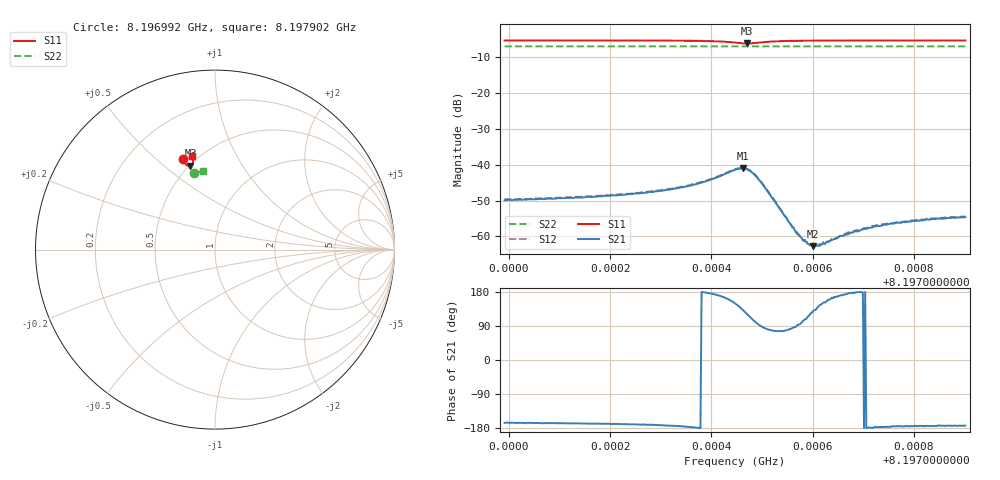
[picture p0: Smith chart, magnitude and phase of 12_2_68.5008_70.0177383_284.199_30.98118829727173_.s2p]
#  HZ  S  RI  R  50.00
! Rohde & Schwarz Vector Network Analyzer
! Rohde-Schwarz,ZNB20-2Port,1311601062101988,3.16
! Created: UTC 3/20/2024, 4:49:04 PM
! freq[Hz]  re:S11  im:S11  re:S21  im:S21  re:S12  im:S12  re:S22  im:S22
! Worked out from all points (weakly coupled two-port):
!   401 points, 8.196992 GHz to 8.197902 GHz, reference 50 ohm
!   highest |S21| = -41.06 dB at 8.197463 GHz (marker M1); lowest = -62.7 dB at 8.197601 GHz (marker M2)
!   lowest |S11| = -6.3 dB at 8.197469 GHz (marker M3), VSWR 2.90, Z = 25.3 + j30.9 ohm
!   |S11| at or under -10 dB: nowhere
!   |S22| runs from -7.1 to -7.1 dB; largest |S21 - S12| = 0.00041
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8.1969916e9  -0.1798 0.5049  -0.0031 -0.000777  -0.00322 -0.000701  -0.115 0.4289
8.197144e9  -0.1678 0.5085  -0.00339 -0.000754  -0.00353 -0.000635  -0.1066 0.4307
8.1972965e9  -0.1524 0.5114  -0.00425 -0.000613  -0.00435 -0.000446  -0.098 0.4325
8.1973374e9  -0.1466 0.5115  -0.00475 -0.000442  -0.00485 -0.000299  -0.0958 0.4328
8.1973761e9  -0.1394 0.5101  -0.00551 -7.2e-05  -0.00562 0.00018  -0.0937 0.4332
8.1974467e9  -0.1227 0.4857  -0.00728 0.00428  -0.00726 0.00465  -0.0893 0.4333
8.1974626e9  -0.1298 0.4715  -0.00587 0.00662  -0.0057 0.00696  -0.0888 0.4331
8.1974694e9  -0.1366 0.4672  -0.00464 0.00727  -0.00444 0.00762  -0.0886 0.433
8.1974831e9  -0.1524 0.4672  -0.0019 0.00724  -0.00164 0.00742  -0.0883 0.4332
8.197499e9  -0.1641 0.4773  0.000157 0.00556  0.000366 0.00566  -0.0878 0.4336
8.197565e9  -0.1602 0.505  7.19e-05 0.00121  8.79e-05 0.00125  -0.084 0.435
8.1975764e9  -0.1583 0.5068  -0.0001 0.000974  -0.000129 0.000971  -0.0834 0.4351
8.1975923e9  -0.1559 0.5088  -0.000349 0.000705  -0.000334 0.000715  -0.0824 0.4352
8.1975991e9  -0.1551 0.5095  -0.000431 0.000603  -0.000445 0.000631  -0.082 0.4354
8.1976014e9  -0.1547 0.5098  -0.000468 0.000563  -0.000456 0.000615  -0.0818 0.4353
8.1976128e9  -0.1531 0.5108  -0.000591 0.000443  -0.000589 0.000515  -0.0811 0.4354
8.197631e9  -0.1509 0.512  -0.000788 0.000298  -0.000767 0.000315  -0.0801 0.4357
8.1976423e9  -0.1494 0.5127  -0.000899 0.000211  -0.000907 0.000291  -0.0796 0.4357
8.1976833e9  -0.145 0.5146  -0.00116 4.84e-05  -0.00119 0.000118  -0.0772 0.4362
8.1977516e9  -0.1383 0.5171  -0.0015 -0.000102  -0.00152 -5.55e-05  -0.0733 0.4366
8.1978289e9  -0.1319 0.519  -0.00171 -0.000168  -0.00176 -0.000107  -0.0688 0.4372
8.1979017e9  -0.126 0.5205  -0.00185 -0.000218  -0.00189 -0.000154  -0.0649 0.4376
